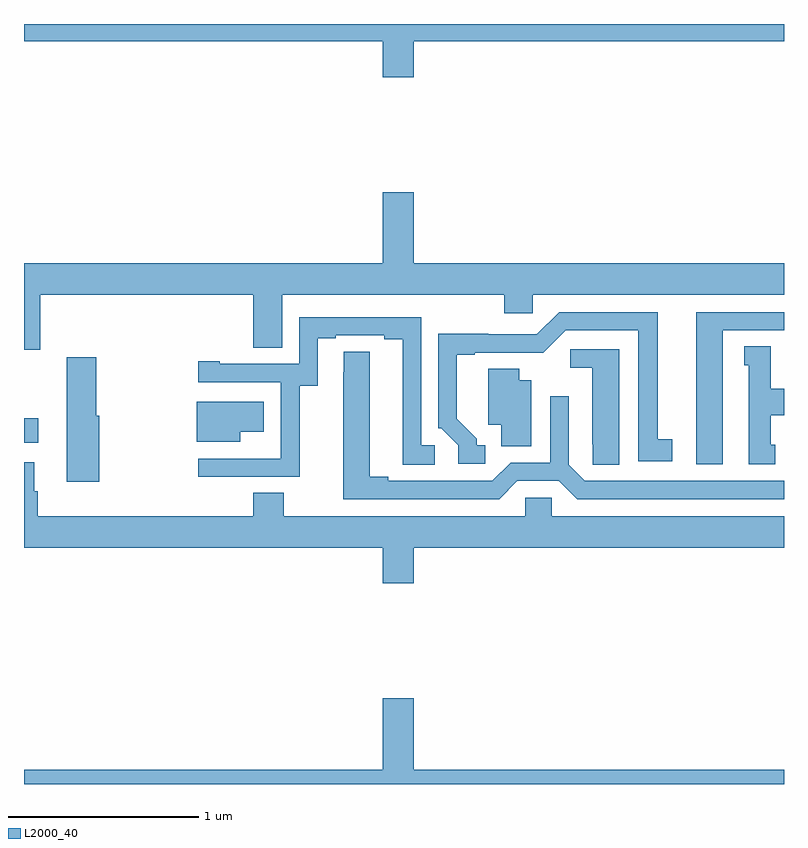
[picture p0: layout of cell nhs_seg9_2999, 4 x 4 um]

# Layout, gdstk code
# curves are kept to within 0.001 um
import gdstk
lib = gdstk.Library(unit=1e-6, precision=1e-09)
def R(c, l, rs):  # rectangles x0, y0, x1, y1
    for r in rs: c.add(gdstk.rectangle(r[:2], r[2:], *l))
def P(c, l, *ps):  # polygons
    for p in ps: c.add(gdstk.Polygon(p, *l))
L2000_40 = (2000, 40)

nhs_seg9_2999 = lib.new_cell('nhs_seg9_2999')
R(nhs_seg9_2999, L2000_40, [(283,1206.296,283.075,1206.426)])
P(nhs_seg9_2999, L2000_40, [(285.052,1208.408),(287,1208.408),(287,1208.5),(283,1208.5),(283,1208.408),(284.888,1208.408),(284.888,1208.22),(285.052,1208.22)],
  [(283.085,1207.076),(284.207,1207.076),(284.207,1206.796),(284.359,1206.796),(284.359,1207.076),(285.527,1207.076),(285.527,1206.978),(285.678,1206.978),(285.678,1207.076),(287,1207.076),(287,1207.24),(285.052,1207.24),(285.052,1207.615),(284.888,1207.615),(284.888,1207.24),(283,1207.24),(283,1206.786),(283.085,1206.786)],
  [(286.678,1206.888),(287,1206.888),(287,1206.984),(286.538,1206.984),(286.538,1206.183),(286.678,1206.183)],
  [(285.427,1206.282),(285.382,1206.282),(285.382,1206.317),(285.277,1206.422),(285.277,1206.759),(285.373,1206.759),(285.373,1206.771),(285.734,1206.77),(285.852,1206.888),(286.232,1206.888),(286.232,1206.198),(286.411,1206.198),(286.411,1206.314),(286.336,1206.314),(286.336,1206.984),(285.816,1206.984),(285.699,1206.867),(285.443,1206.867),(285.443,1206.869),(285.18,1206.869),(285.18,1206.372),(285.195,1206.372),(285.285,1206.282),(285.285,1206.186),(285.427,1206.186)],
  [(284.451,1206.595),(284.545,1206.595),(284.545,1206.846),(284.641,1206.846),(284.641,1206.861),(284.897,1206.861),(284.897,1206.841),(284.993,1206.841),(284.993,1206.181),(285.163,1206.181),(285.163,1206.282),(285.09,1206.282),(285.09,1206.957),(284.448,1206.957),(284.448,1206.711),(284.029,1206.711),(284.029,1206.724),(283.917,1206.724),(283.917,1206.615),(284.352,1206.615),(284.352,1206.214),(284.351,1206.214),(284.351,1206.213),(283.917,1206.213),(283.917,1206.117),(284.451,1206.117)],
  [(286.954,1206.285),(286.93,1206.285),(286.93,1206.44),(287,1206.44),(287,1206.58),(286.93,1206.58),(286.93,1206.803),(286.79,1206.803),(286.79,1206.705),(286.814,1206.705),(286.814,1206.183),(286.954,1206.183)],
  [(286.132,1206.789),(285.876,1206.789),(285.876,1206.692),(285.992,1206.692),(285.992,1206.289),(285.993,1206.289),(285.993,1206.181),(286.132,1206.181)],
  [(285.597,1206.096),(285.815,1206.096),(285.911,1206),(287,1206),(287,1206.096),(285.951,1206.096),(285.867,1206.18),(285.867,1206.541),(285.771,1206.541),(285.771,1206.192),(285.561,1206.192),(285.465,1206.096),(284.917,1206.096),(284.917,1206.116),(284.821,1206.116),(284.821,1206.776),(284.682,1206.776),(284.681,1206),(285.501,1206)],
  [(283.397,1206.438),(283.379,1206.438),(283.379,1206.745),(283.225,1206.745),(283.225,1206.438),(283.226,1206.438),(283.226,1206.09),(283.397,1206.09)],
  [(285.67,1206.625),(285.607,1206.625),(285.607,1206.686),(285.443,1206.686),(285.443,1206.392),(285.512,1206.392),(285.512,1206.277),(285.67,1206.277)],
  [(284.137,1206.353),(284.263,1206.353),(284.263,1206.511),(283.91,1206.511),(283.91,1206.302),(284.137,1206.302)],
  [(285.052,1205.744),(287,1205.744),(287,1205.908),(285.777,1205.908),(285.777,1206.006),(285.639,1206.006),(285.639,1205.908),(284.367,1205.908),(284.367,1206.032),(284.207,1206.032),(284.207,1205.908),(283.073,1205.908),(283.073,1206.042),(283.054,1206.042),(283.054,1206.193),(283,1206.193),(283,1205.744),(284.888,1205.744),(284.888,1205.556),(285.052,1205.556)],
  [(287,1204.576),(285.052,1204.576),(285.052,1204.951),(284.888,1204.951),(284.888,1204.576),(283,1204.576),(283,1204.5),(287,1204.5)])

lib.write_gds('nhs_seg9_2999.gds')
